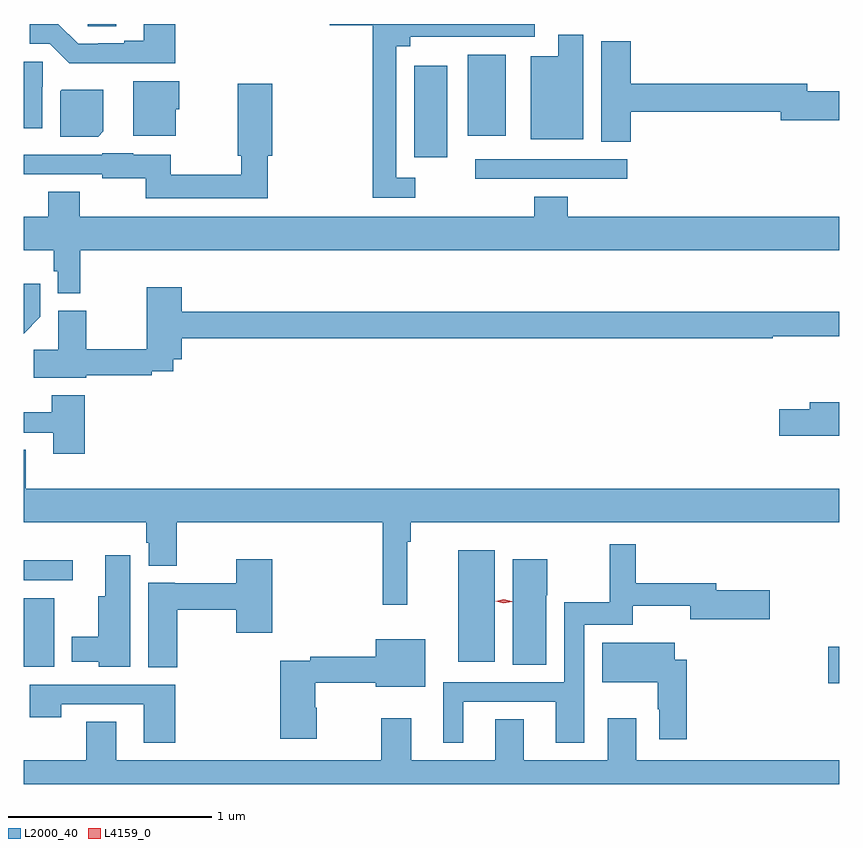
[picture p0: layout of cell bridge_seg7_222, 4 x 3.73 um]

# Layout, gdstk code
import gdstk
lib = gdstk.Library(unit=1e-6, precision=1e-09)
def R(c, l, rs):  # rectangles x0, y0, x1, y1
    for r in rs: c.add(gdstk.rectangle(r[:2], r[2:], *l))
def P(c, l, *ps):  # polygons
    for p in ps: c.add(gdstk.Polygon(p, *l))
L2000_40 = (2000, 40)
L4159_0 = (4159, 0)

bridge_seg7_222 = lib.new_cell('bridge_seg7_222')
R(bridge_seg7_222, L2000_40, [(352.278,998.494,352.333,998.672), (348.333,998.576,348.484,998.911), (350.465,998.6,350.644,999.145), (348.333,999,348.574,999.098), (350.547,1000.968,351.292,1001.064), (350.249,1001.073,350.41,1001.521), (350.51,1001.177,350.698,1001.575), (348.648,1001.716,348.787,1001.726)])
P(bridge_seg7_222, L2000_40, [(350.254,1000.971),(350.16,1000.971),(350.16,1001.618),(350.23,1001.618),(350.23,1001.664),(350.839,1001.664),(350.839,1001.726),(349.833,1001.726),(349.833,1001.72),(350.044,1001.72),(350.044,1000.875),(350.254,1000.875)],
  [(349.076,1001.726),(348.923,1001.726),(348.923,1001.644),(348.827,1001.644),(348.827,1001.631),(348.7,1001.631),(348.7,1001.628),(348.6,1001.628),(348.503,1001.726),(348.363,1001.726),(348.363,1001.628),(348.462,1001.628),(348.557,1001.534),(349.076,1001.534)],
  [(351.076,1001.674),(350.954,1001.674),(350.954,1001.569),(350.819,1001.569),(350.819,1001.162),(351.076,1001.162)],
  [(351.311,1001.296),(352.046,1001.296),(352.046,1001.254),(352.333,1001.254),(352.333,1001.396),(352.174,1001.396),(352.174,1001.432),(351.311,1001.432),(351.311,1001.641),(351.164,1001.641),(351.164,1001.149),(351.311,1001.149)],
  [(348.424,1001.418),(348.428,1001.418),(348.428,1001.541),(348.333,1001.541),(348.333,1001.214),(348.424,1001.214)],
  [(349.078,1001.307),(349.096,1001.307),(349.096,1001.446),(348.872,1001.446),(348.872,1001.177),(349.078,1001.177)],
  [(349.529,1001.081),(349.553,1001.081),(349.553,1001.434),(349.382,1001.434),(349.382,1001.081),(349.401,1001.081),(349.401,1000.988),(349.054,1000.988),(349.054,1001.086),(348.87,1001.086),(348.87,1001.092),(348.72,1001.092),(348.72,1001.085),(348.333,1001.085),(348.333,1000.989),(348.72,1000.989),(348.72,1000.97),(348.933,1000.97),(348.933,1000.872),(349.529,1000.872)],
  [(348.724,1001.2),(348.724,1001.404),(348.52,1001.404),(348.512,1001.396),(348.512,1001.174),(348.698,1001.174)],
  [(348.61,1000.616),(352.333,1000.616),(352.333,1000.78),(351.002,1000.78),(351.002,1000.879),(350.837,1000.879),(350.837,1000.78),(348.609,1000.78),(348.609,1000.904),(348.454,1000.904),(348.454,1000.78),(348.333,1000.78),(348.333,1000.616),(348.481,1000.616),(348.481,1000.515),(348.501,1000.515),(348.501,1000.406),(348.61,1000.406)],
  [(348.416,1000.29),(348.416,1000.453),(348.333,1000.453),(348.333,1000.207)],
  [(348.64,1000.003),(348.962,1000.003),(348.962,1000.023),(349.066,1000.023),(349.066,1000.082),(349.109,1000.082),(349.109,1000.186),(352.006,1000.186),(352.006,1000.194),(352.333,1000.194),(352.333,1000.315),(349.109,1000.315),(349.109,1000.435),(348.938,1000.435),(348.938,1000.132),(348.64,1000.132),(348.64,1000.321),(348.503,1000.321),(348.503,1000.13),(348.382,1000.13),(348.382,999.992),(348.64,999.992)],
  [(348.632,999.907),(348.472,999.907),(348.472,999.823),(348.333,999.823),(348.333,999.723),(348.479,999.723),(348.479,999.618),(348.632,999.618)],
  [(352.333,999.871),(352.187,999.871),(352.187,999.837),(352.038,999.837),(352.038,999.707),(352.333,999.707)],
  [(350.214,999.188),(350.231,999.188),(350.231,999.284),(352.333,999.284),(352.333,999.448),(348.343,999.448),(348.343,999.638),(348.333,999.638),(348.333,999.284),(348.935,999.284),(348.935,999.183),(348.947,999.183),(348.947,999.071),(349.083,999.071),(349.083,999.284),(350.095,999.284),(350.095,998.88),(350.214,998.88)],
  [(350.488,998.403),(350.942,998.403),(350.942,998.202),(351.081,998.202),(351.081,998.781),(351.32,998.781),(351.32,998.873),(351.602,998.873),(351.602,998.807),(351.991,998.807),(351.991,998.949),(351.73,998.949),(351.73,998.983),(351.335,998.983),(351.335,999.175),(351.207,999.175),(351.207,998.89),(350.985,998.89),(350.985,998.499),(350.39,998.499),(350.39,998.202),(350.488,998.202)],
  [(348.856,999.121),(348.734,999.121),(348.734,998.92),(348.698,998.92),(348.698,998.722),(348.569,998.722),(348.569,998.6),(348.702,998.6),(348.702,998.576),(348.856,998.576)],
  [(349.086,998.854),(349.375,998.854),(349.375,998.742),(349.553,998.742),(349.553,999.103),(349.375,999.103),(349.375,998.983),(349.074,998.983),(349.074,998.986),(348.944,998.986),(348.944,998.572),(349.086,998.572)],
  [(350.896,998.925),(350.901,998.925),(350.901,999.103),(350.732,999.103),(350.732,998.584),(350.896,998.584)],
  [(349.77,998.373),(349.762,998.373),(349.762,998.496),(350.06,998.496),(350.06,998.477),(350.302,998.477),(350.302,998.71),(350.06,998.71),(350.06,998.624),(349.738,998.624),(349.738,998.604),(349.592,998.604),(349.592,998.223),(349.77,998.223)],
  [(351.584,998.608),(351.526,998.608),(351.526,998.692),(351.17,998.692),(351.17,998.498),(351.442,998.498),(351.442,998.367),(351.449,998.367),(351.449,998.22),(351.584,998.22)],
  [(349.076,998.487),(348.363,998.487),(348.363,998.328),(348.519,998.328),(348.519,998.391),(348.923,998.391),(348.923,998.202),(349.076,998.202)],
  [(352.333,998.116),(351.337,998.116),(351.337,998.323),(351.197,998.323),(351.197,998.116),(350.785,998.116),(350.785,998.318),(350.645,998.318),(350.645,998.116),(350.233,998.116),(350.233,998.323),(350.086,998.323),(350.086,998.116),(348.787,998.116),(348.787,998.306),(348.64,998.306),(348.64,998.116),(348.333,998.116),(348.333,998),(352.333,998)])
P(bridge_seg7_222, L4159_0, [(350.688,998.885),(350.649,998.895),(350.648,998.895),(350.649,998.896),(350.688,998.905),(350.727,998.895),(350.728,998.894),(350.727,998.894)])

lib.write_gds('bridge_seg7_222.gds')
